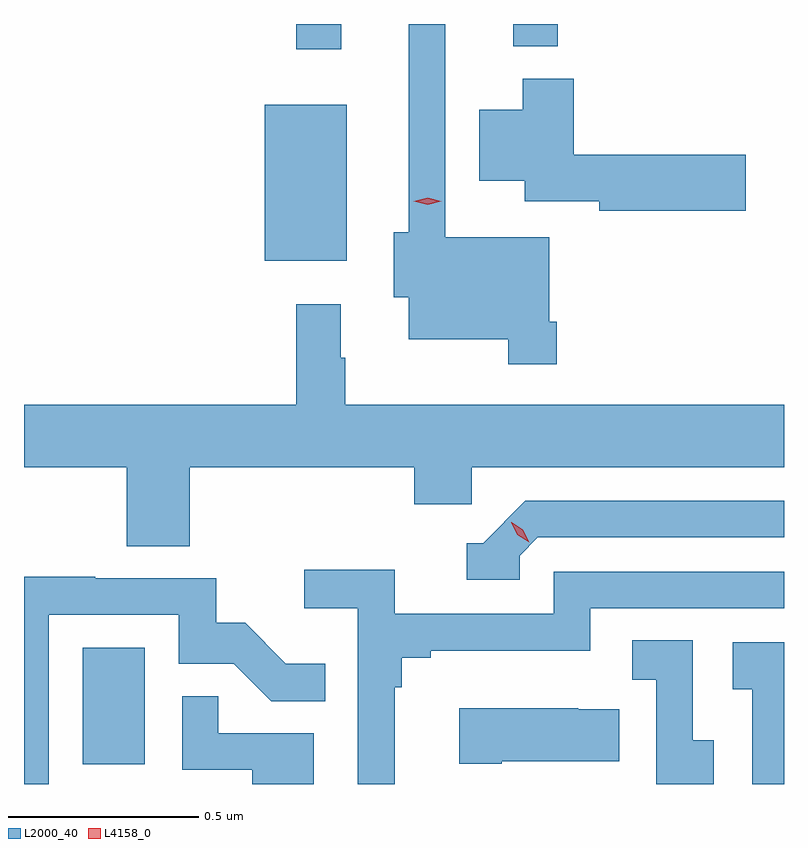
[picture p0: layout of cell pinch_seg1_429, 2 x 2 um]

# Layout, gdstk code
import gdstk
lib = gdstk.Library(unit=1e-6, precision=1e-09)
def R(c, l, rs):  # rectangles x0, y0, x1, y1
    for r in rs: c.add(gdstk.rectangle(r[:2], r[2:], *l))
def P(c, l, *ps):  # polygons
    for p in ps: c.add(gdstk.Polygon(p, *l))
L2000_40 = (2000, 40)
L4158_0 = (4158, 0)

pinch_seg1_429 = lib.new_cell('pinch_seg1_429')
R(pinch_seg1_429, L2000_40, [(934.994,534.966,935.158,535.273), (935.474,536.291,935.689,536.701), (935.557,536.847,935.675,536.914), (936.128,536.855,936.245,536.914)])
P(pinch_seg1_429, L2000_40, [(936.242,536.131),(936.222,536.131),(936.222,536.353),(935.949,536.353),(935.949,536.914),(935.852,536.914),(935.852,536.366),(935.813,536.366),(935.813,536.195),(935.852,536.195),(935.852,536.084),(936.114,536.084),(936.114,536.019),(936.242,536.019)],
  [(936.739,536.57),(936.287,536.57),(936.287,536.77),(936.152,536.77),(936.152,536.689),(936.038,536.689),(936.038,536.501),(936.158,536.501),(936.158,536.447),(936.354,536.447),(936.354,536.423),(936.739,536.423)],
  [(935.276,535.748),(935.867,535.748),(935.867,535.65),(936.018,535.65),(936.018,535.748),(936.84,535.748),(936.84,535.912),(935.686,535.912),(935.686,536.036),(935.674,536.036),(935.674,536.176),(935.557,536.176),(935.557,535.912),(934.84,535.912),(934.84,535.748),(935.111,535.748),(935.111,535.54),(935.276,535.54)],
  [(936.144,535.515),(936.192,535.563),(936.84,535.563),(936.84,535.659),(936.159,535.659),(936.048,535.548),(936.005,535.548),(936.005,535.452),(936.144,535.452)],
  [(935.815,535.169),(935.834,535.169),(935.834,535.246),(935.911,535.246),(935.911,535.265),(936.33,535.265),(936.33,535.377),(936.84,535.377),(936.84,535.473),(936.234,535.473),(936.234,535.362),(935.816,535.362),(935.816,535.478),(935.577,535.478),(935.577,535.376),(935.718,535.376),(935.718,534.914),(935.815,534.914)],
  [(934.905,535.359),(935.247,535.359),(935.247,535.23),(935.392,535.23),(935.49,535.132),(935.633,535.132),(935.633,535.231),(935.529,535.231),(935.422,535.338),(935.346,535.338),(935.346,535.455),(935.027,535.455),(935.027,535.46),(934.84,535.46),(934.84,534.914),(934.905,534.914)],
  [(936.655,535.029),(936.6,535.029),(936.6,535.292),(936.441,535.292),(936.441,535.189),(936.504,535.189),(936.504,534.914),(936.655,534.914)],
  [(936.84,535.287),(936.705,535.287),(936.705,535.163),(936.756,535.163),(936.756,534.914),(936.84,534.914)],
  [(935.602,535.047),(935.351,535.047),(935.351,535.145),(935.256,535.145),(935.256,534.951),(935.441,534.951),(935.441,534.914),(935.602,534.914)],
  [(936.097,534.974),(936.407,534.974),(936.407,535.111),(936.299,535.111),(936.299,535.114),(935.985,535.114),(935.985,534.967),(936.097,534.967)])
P(pinch_seg1_429, L4158_0, [(935.902,536.438),(935.866,536.448),(935.866,536.448),(935.866,536.448),(935.902,536.457),(935.938,536.447),(935.938,536.447),(935.938,536.447)],
  [(936.169,535.55),(936.138,535.57),(936.122,535.602),(936.122,535.603),(936.123,535.603),(936.153,535.583),(936.17,535.55),(936.17,535.55)])

lib.write_gds('pinch_seg1_429.gds')
